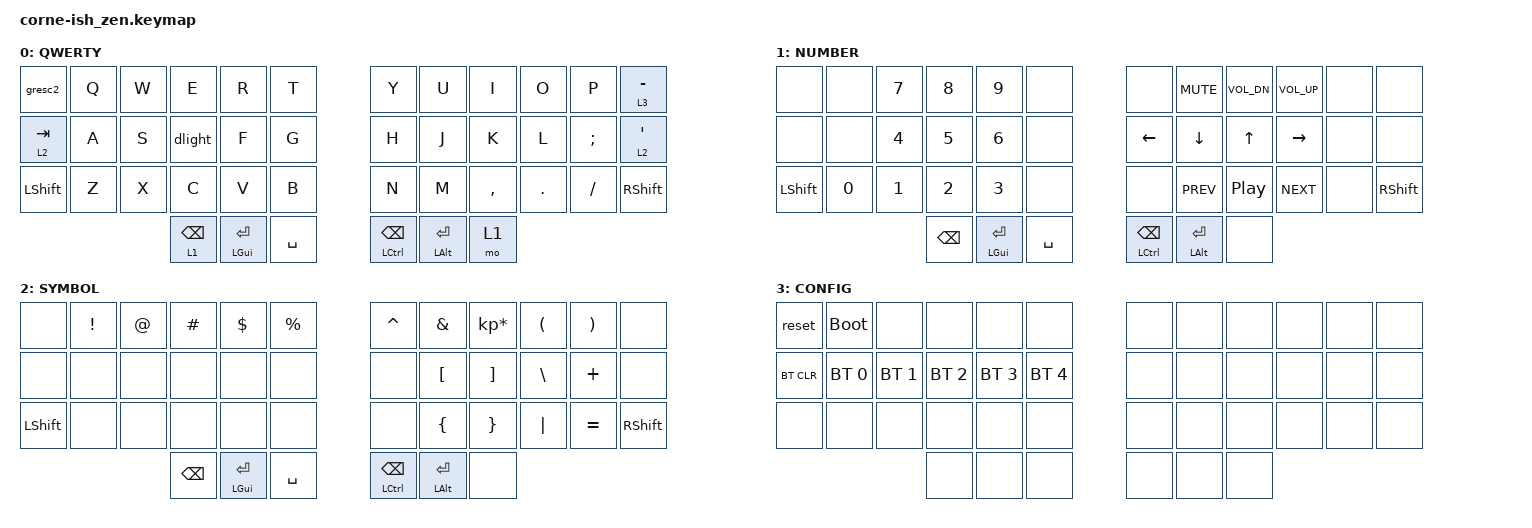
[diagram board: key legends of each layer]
/*
*
* Copyright (c) 2021 Darryl deHaan
* SPDX-License-Identifier: MIT
*
*/


#include <behaviors.dtsi>
#include <dt-bindings/zmk/keys.h>
#include <dt-bindings/zmk/bt.h>

// TODO: scrolling, mouse click

#define QWERTY 0
#define NUMBER 1
#define SYMBOL 2
#define CONFIG 3

/ {
        behaviors {
            // Since cmd and space are right next to each other and both thumb keys,
            // have cmd-d open spotlight as well.
            dlight: d_spotlight {
                compatible = "zmk,behavior-mod-morph";
                label = "D_SPOTLIGHT";
                #binding-cells = <0>;
                bindings = <&kp D>, <&kp SPACE>;
                mods = <(MOD_LGUI|MOD_RGUI)>;
            };

            // Already built-in to zmk but not with ctl and alt.
            gresc2: grave_escape {
              compatible = "zmk,behavior-mod-morph";
              label = "GRAVE_ESCAPE";
              #binding-cells = <0>;
              bindings = <&kp ESC>, <&kp GRAVE>;
              mods = <(MOD_LGUI|MOD_RGUI|MOD_LSFT|MOD_RSFT|MOD_LALT|MOD_RALT|MOD_LCTL|MOD_RCTL)>;
            };
        };

        keymap {
                compatible = "zmk,keymap";

                default_layer {
                        label = "QWERTY";
// -----------------------------------------------------------------------------------------
// |  TAB |  Q  |  W  |  E  |  R  |  T  |   |  Y  |  U   |  I  |  O  |  P  | BKSP |
// | CTRL |  A  |  S  |  D  |  F  |  G  |   |  H  |  J   |  K  |  L  |  ;  |  '   |
// | SHFT |  Z  |  X  |  C  |  V  |  B  |   |  N  |  M   |  ,  |  .  |  /  | ESC  |
//                    | GUI | LWR | SPC |   | ENT | RSE  | ALT |
                        bindings = <
   &gresc2   &kp Q &kp W &kp E   &kp R &kp T   &kp Y &kp U  &kp I     &kp O   &kp P    &lt 3 MINUS 
   &lt 2 TAB &kp A &kp S &dlight &kp F &kp G   &kp H &kp J  &kp K     &kp L   &kp SEMI &lt 2 SQT
   &kp LSHFT &kp Z &kp X &kp C   &kp V &kp B   &kp N &kp M  &kp COMMA &kp DOT &kp FSLH &kp RSHIFT
           &lt 1 BSPC &mt LGUI RET &kp SPACE   &mt LCTRL BSPC &mt LALT RET &mo 1
                        >;
                };

                number_layer {
                        label = "NUMBER";
// -----------------------------------------------------------------------------------------
// |  TAB |  1  |  2  |  3  |  4  |  5  |   |  6  |  7  |  8  |  9  |  0  | BKSP |
// | BTCLR| BT1 | BT2 | BT3 | BT4 | BT5 |   | LFT | DWN |  UP | RGT |     |      |
// | SHFT |     |     |     |     |     |   |     |     |     |     |     |      |
//                    | GUI |     | SPC |   | ENT |     | ALT |
                        bindings = <
   &none      &none  &kp N7 &kp N8 &kp N9 &none       &none    &kp C_MUTE &kp C_VOL_DN     &kp C_VOL_UP &none &none
   &none      &none  &kp N4 &kp N5 &kp N6 &none       &kp LEFT &kp DOWN   &kp UP           &kp RIGHT    &none &none 
   &kp LSHIFT &kp N0 &kp N1 &kp N2 &kp N3 &none       &none    &kp C_PREV &kp C_PLAY_PAUSE &kp C_NEXT   &none &kp RSHIFT 
                &kp BSPC &mt LGUI RET &kp SPACE       &mt LCTRL BSPC &mt LALT RET &none
                        >;
                };

                symbol_layer {
                        label = "SYMBOL";
// -----------------------------------------------------------------------------------------
// |  TAB |  !  |  @  |  #  |  $  |  %  |   |  ^  |  &  |  *  |  (  |  )  | BKSP |
// | CTRL |     |     |     |     |     |   |  -  |  =  |  [  |  ]  |  \  |  `   |
// | SHFT |     |     |     |     |     |   |  _  |  +  |  {  |  }  | "|" |  ~   |
//                    | GUI |     | SPC |   | ENT |     | ALT |
                        bindings = <
   &none       &kp EXCL &kp AT &kp HASH &kp DLLR &kp PRCNT   &kp CARET &kp AMPS  &kp KP_MULTIPLY &kp LPAR &kp RPAR  &none
   &none       &none    &none  &none    &none    &none       &none     &kp LBKT  &kp RBKT        &kp BSLH &kp PLUS  &none
   &kp LSHIFT  &none    &none  &none    &none    &none       &none     &kp LBRC  &kp RBRC        &kp PIPE &kp EQUAL &kp RSHIFT
                       &kp BSPC &mt LGUI RET &kp SPACE       &mt LCTRL BSPC &mt LALT RET &none
                        >;
                };

                config_layer {
                        label = "CONFIG";
// -----------------------------------------------------------------------------------------
// |  TAB |  1  |  2  |  3  |  4  |  5  |   |  6  |  7  |  8  |  9  |  0  | BKSP |
// | BTCLR| BT1 | BT2 | BT3 | BT4 | BT5 |   | LFT | DWN |  UP | RGT |     |      |
// | SHFT |     |     |     |     |     |   |     |     |     |     |     |      |
//                    | GUI |     | SPC |   | ENT |     | ALT |
                        bindings = <
   &reset     &bootloader  &none        &none        &none        &none          &none &none &none &none &none &none 
   &bt BT_CLR &bt BT_SEL 0 &bt BT_SEL 1 &bt BT_SEL 2 &bt BT_SEL 3 &bt BT_SEL 4   &none &none &none &none &none &none 
   &none      &none        &none        &none        &none        &none          &none &none &none &none &none &none
                          	            &none        &none        &none          &none &none &none
                        >;
                };
        };
};
